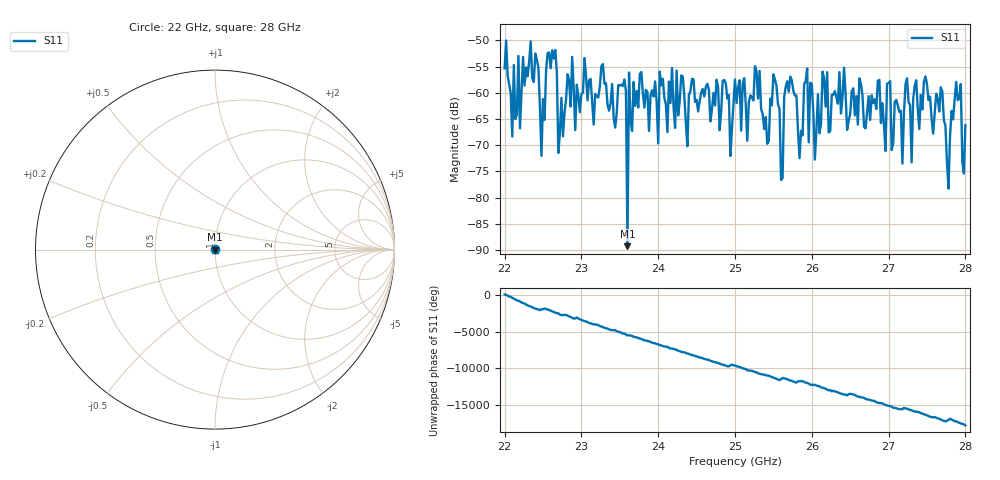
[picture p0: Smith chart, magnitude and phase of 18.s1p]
#  HZ  S  RI  R  50.00
! Rohde & Schwarz ZVA40 4Ports - Version 3.90 - 1145.1110k42 SN: 100403
! Date: 2023-10-04 11:39:03
! Measurement: S12
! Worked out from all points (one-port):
!   301 points, 22 GHz to 28 GHz, reference 50 ohm
!   lowest |S11| = -89.3 dB at 23.6 GHz (marker M1), VSWR 1.00, Z = 50 - j0.00275 ohm
!   |S11| at or under -10 dB: start of sweep to end of sweep
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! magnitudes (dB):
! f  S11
! 22 GHz  -55.3
! 22.1 GHz  -68.3
! 22.34 GHz  -50.2
! 22.48 GHz  -72.0
! 22.66 GHz  -51.8
! 22.7 GHz  -71.5
! 22.76 GHz  -68.3
! 22.88 GHz  -53.2
! 22.92 GHz  -67.1
! 23.5 GHz  -58.6
! 23.58 GHz  -59.8
! 23.6 GHz  -89.3
! 23.62 GHz  -56.1
! 24.26 GHz  -64.3
! 24.86 GHz  -57.5
! 24.94 GHz  -72.1
! 25 GHz  -57.5
! 25.42 GHz  -69.7
! 25.5 GHz  -56.5
! 25.6 GHz  -76.6
! 25.76 GHz  -59.6
! 25.84 GHz  -72.5
! 26.5 GHz  -64.0
! 27.26 GHz  -61.7
! 27.68 GHz  -59.0
! 27.78 GHz  -78.3
! 27.88 GHz  -57.9
! 28 GHz  -66.2
